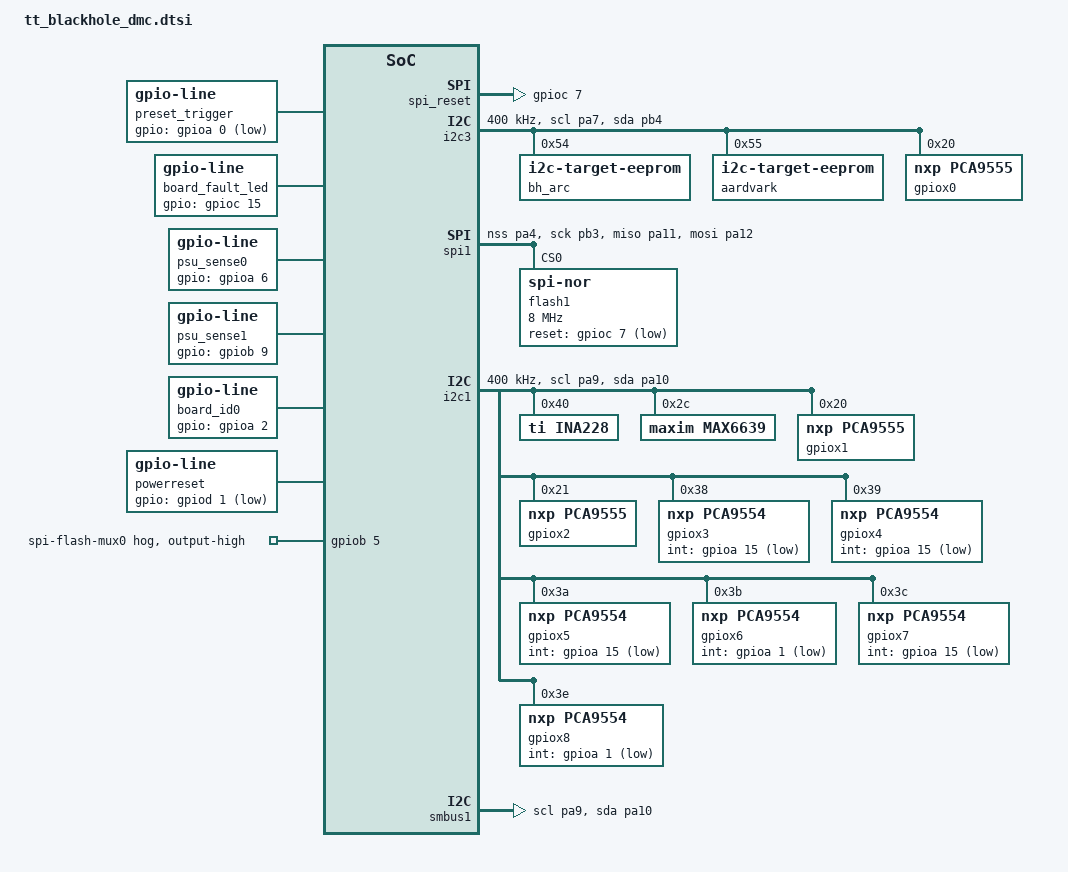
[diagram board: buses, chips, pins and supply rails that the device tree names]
/*
 * Copyright (c) 2024 Tenstorrent AI ULC
 *
 * SPDX-License-Identifier: Apache-2.0
 */

/ {
	aliases {
		fan0 = &max6639;
	};

	chip0: chip0 {
		compatible = "tenstorrent,bh-chip";

		/* Line to asic reset */
		asic_reset {
			compatible = "zephyr,gpio-line";
			gpios = <&gpiob 0 GPIO_ACTIVE_LOW>;
		};

		/* Line to spi reset */
		spi_reset {
			compatible = "zephyr,gpio-line";
			gpios = <&gpioc 7 GPIO_ACTIVE_LOW>;
		};

		/* Power good indicator */
		pgood {
			compatible = "zephyr,gpio-line";
			gpios = <&gpioc 14 GPIO_PULL_DOWN>;
		};

		/* Thermal trip indicator */
		therm_trip {
			compatible = "zephyr,gpio-line";
			gpios = <&gpioc 13 GPIO_ACTIVE_HIGH>;
		};

		flash = <&flash1>;

		/* SPI flash mux: low = flash <-> BH, high = flash <-> DMC */
		spi_mux {
			compatible = "zephyr,gpio-line";
			gpios = <&gpiob 5 GPIO_ACTIVE_LOW>;
		};

		arc = <&chip0_arc>;
	};

	/* Input from PCIe card edge triggering an asic reset */
	preset_trigger {
		compatible = "zephyr,gpio-line";
		gpios = <&gpioa 0 (GPIO_ACTIVE_LOW | GPIO_PULL_UP)>;
	};

	/* LED Output to board fault indicator */
	board_fault_led {
		compatible = "zephyr,gpio-line";
		gpios = <&gpioc 15 GPIO_ACTIVE_HIGH>;
	};

	/* PSU Sense 0 from 12V-2x6 connector */
	psu_sense0 {
		compatible = "zephyr,gpio-line";
		gpios = <&gpioa 6 GPIO_ACTIVE_HIGH>;
	};

	/* PSU Sense 1 from 12V-2x6 connector */
	psu_sense1 {
		compatible = "zephyr,gpio-line";
		gpios = <&gpiob 9 GPIO_ACTIVE_HIGH>;
	};

	/* Board ID 0 indicator */
	board_id0 {
		compatible = "zephyr,gpio-line";
		gpios = <&gpioa 2 GPIO_ACTIVE_HIGH>;
	};

	/* Power reset */
	powerreset {
		compatible = "zephyr,gpio-line";
		gpios = <&gpiod 1 GPIO_ACTIVE_LOW>;
	};
};

&clk_lsi {
	clock-frequency = <DT_FREQ_K(32)>;
	status = "okay";
};

&clk_hsi {
	clock-frequency = <DT_FREQ_M(16)>;
	status = "okay";
};

&pll {
	clocks = <&clk_hsi>;
	div-m = <1>;
	mul-n = <8>;
	div-r = <2>;
	div-q = <2>;
	div-p = <2>;
	status = "okay";
};

&rcc {
	clocks = <&pll>;
	clock-frequency = <DT_FREQ_M(64)>;
	ahb-prescaler = <1>;
	apb1-prescaler = <1>;
};

&i2c3 {
	pinctrl-0 = <&i2c3_scl_pa7 &i2c3_sda_pb4>;
	pinctrl-names = "default";
	status = "okay";
	clock-frequency = <I2C_BITRATE_FAST>;

	scl-gpios = <&gpioa 7 GPIO_OPEN_DRAIN>;
	sda-gpios = <&gpiob 4 GPIO_OPEN_DRAIN>;

	bh_arc: i2c@54 {
		compatible = "zephyr,i2c-target-eeprom";
		reg = <0x54>;
		status = "okay";
	};

	aardvark: eeprom@55 {
		compatible = "zephyr,i2c-target-eeprom";
		reg = <0x55>;
		status = "okay";
	};

	gpiox0: gpio@20 {
		compatible = "nxp,pca9555";
		status = "okay";

		#gpio-cells = <2>;
		ngpios = <16>;
		reg = <0x20>;
		gpio-controller;
	};
};

&gpiob {
	status = "okay";

	spi-flash-mux0 {
		gpio-hog;
		gpios = <5 GPIO_ACTIVE_HIGH>;
		output-high;
	};
};

&spi1 {
	pinctrl-0 = <&spi1_nss_pa4 &spi1_sck_pb3
		     &spi1_miso_pa11 &spi1_mosi_pa12>;
	pinctrl-names = "default";
	status = "okay";

	flash1: spi-flash@0 {
		/* base properties */
		compatible = "jedec,spi-nor";
		status = "okay";

		reset-gpios = <&gpioc 7 (GPIO_ACTIVE_LOW | GPIO_PULL_UP)>;

		/* spi-device properties */
		reg = <0>;
		spi-max-frequency = <7999999>;
		spi-cpol;
		spi-cpha;

		/* jedec,spi-nor properties */
		size = <DT_SIZE_M(512)>; /* Size in bits */

		/* jedec,spi-nor-common properties */
		has-dpd;
		t-enter-dpd = <3000>;
		t-exit-dpd = <30000>;
		jedec-id = [20 bb 20];

		/*
		 * Flash partition tools expect a nv-flash node to be
		 * present as the parent of the partitions node.
		 */
		#address-cells = <1>;
		#size-cells = <1>;

		nv_flash: nv-flash@0 {
			compatible = "soc-nv-flash";
			reg = <0 DT_SIZE_M(512)>;
			write-block-size = <1>;
			erase-block-size = <DT_SIZE_K(4)>;
		};
	};
};

&flash0 {
	#address-cells = <1>;
	#size-cells = <1>;

	flash_wrapper@8000000 {
		compatible = "tenstorrent,stm32-flash-wrapper";
		flash-device = <&flash>;
		reg = <0x8000000 DT_SIZE_K(512)>;
		page-size = <4096>;
		erase-block-size = <4096>;
		write-block-size = <8>;

		partitions {
			compatible = "fixed-partitions";
			#address-cells = <1>;
			#size-cells = <1>;

			boot_partition: partition@0 {
				label = "mcuboot";
				reg = <0x00000000 DT_SIZE_K(64)>;
				read-only;
			};

			slot0_partition: partition@10000 {
				label = "image-0";
				reg = <0x00010000 DT_SIZE_K(448)>;
			};
		};
	};
};

&i2c1 {
	pinctrl-0 = <&i2c1_scl_pa9 &i2c1_sda_pa10>;
	pinctrl-names = "default";
	status = "okay";
	clock-frequency = <I2C_BITRATE_FAST>;

	scl-gpios = <&gpioa 9 GPIO_OPEN_DRAIN>;
	sda-gpios = <&gpioa 10 GPIO_OPEN_DRAIN>;

	ina228: ina228@40 {
		compatible = "ti,ina228";
		reg = <0x40>;
		status = "okay";
		/* max_current / (2^19) */
		current-lsb-microamps = <210>;
		rshunt-micro-ohms = <1000>;
		vbus-conversion-time-us = <50>;
		vshunt-conversion-time-us = <50>;
		temp-conversion-time-us = <50>;
		adc-mode = "Bus and shunt voltage continuous";
	};

	max6639: max6639@2c {
		status = "okay";
		compatible = "maxim,max6639";
		reg = <0x2c>;

		max6639_pwm: pwm {
			label = "max6639_pwm";
			status = "okay";
			compatible = "maxim,max6639-pwm";
			#pwm-cells = <1>;
		};

		max6639_sensor: sensor {
			label = "max6639_sensor";
			status = "okay";
			compatible = "maxim,max6639-sensor";
		};
	};

	/*
	 * BH cards all have a subset of the gpio expanders defined below.
	 * Add them all here in case we want to use deferred init for the DMFW
	 * in the future. For now, we just disable these in board overlays.
	 */

	gpiox1: gpio@20 {
		compatible = "nxp,pca9555";
		status = "okay";

		#gpio-cells = <2>;
		ngpios = <16>;
		reg = <0x20>;
		gpio-controller;
	};

	gpiox2: gpio@21 {
		compatible = "nxp,pca9555";
		status = "okay";

		#gpio-cells = <2>;
		ngpios = <16>;
		reg = <0x21>;
		gpio-controller;
	};

	gpiox3: gpio@38 {
		compatible = "nxp,pca9554";
		reg = <0x38>;
		status = "okay";
		ngpios = <8>;
		/* external pull-up to 1.8V */
		int-gpios = <&gpioa 15 GPIO_ACTIVE_LOW>;

		gpio-controller;
		#gpio-cells = <2>;
	};

	gpiox4: gpio@39 {
		compatible = "nxp,pca9554";
		reg = <0x39>;
		status = "okay";
		ngpios = <8>;
		/* external pull-up to 1.8V */
		int-gpios = <&gpioa 15 GPIO_ACTIVE_LOW>;

		gpio-controller;
		#gpio-cells = <2>;
	};

	gpiox5: gpio@3a {
		compatible = "nxp,pca9554";
		reg = <0x3a>;
		status = "okay";
		ngpios = <8>;
		/* external pull-up to 1.8V */
		int-gpios = <&gpioa 15 GPIO_ACTIVE_LOW>;

		gpio-controller;
		#gpio-cells = <2>;
	};

	gpiox6: gpio@3b {
		compatible = "nxp,pca9554";
		reg = <0x3b>;
		status = "okay";
		ngpios = <8>;
		/* external pull-up to 1.8V */
		int-gpios = <&gpioa 1 GPIO_ACTIVE_LOW>;

		gpio-controller;
		#gpio-cells = <2>;
	};

	gpiox7: gpio@3c {
		compatible = "nxp,pca9554";
		reg = <0x3c>;
		status = "okay";
		ngpios = <8>;
		/* external pull-up to 1.8V */
		int-gpios = <&gpioa 15 GPIO_ACTIVE_LOW>;

		gpio-controller;
		#gpio-cells = <2>;
	};

	gpiox8: gpio@3e {
		compatible = "nxp,pca9554";
		reg = <0x3e>;
		status = "okay";
		ngpios = <8>;
		/* external pull-up to 1.8V */
		int-gpios = <&gpioa 1 GPIO_ACTIVE_LOW>;

		gpio-controller;
		#gpio-cells = <2>;
	};
};

&smbus1 {
	pinctrl-0 = <&i2c1_scl_pa9 &i2c1_sda_pa10>;
	pinctrl-names = "default";
	status = "okay";
};

&nv_flash {
#include "tt_blackhole_fixed_partitions.dtsi"
};

/* Define the DMC firmware partition for MCUBoot */
slot1_partition: &dmfw {};
